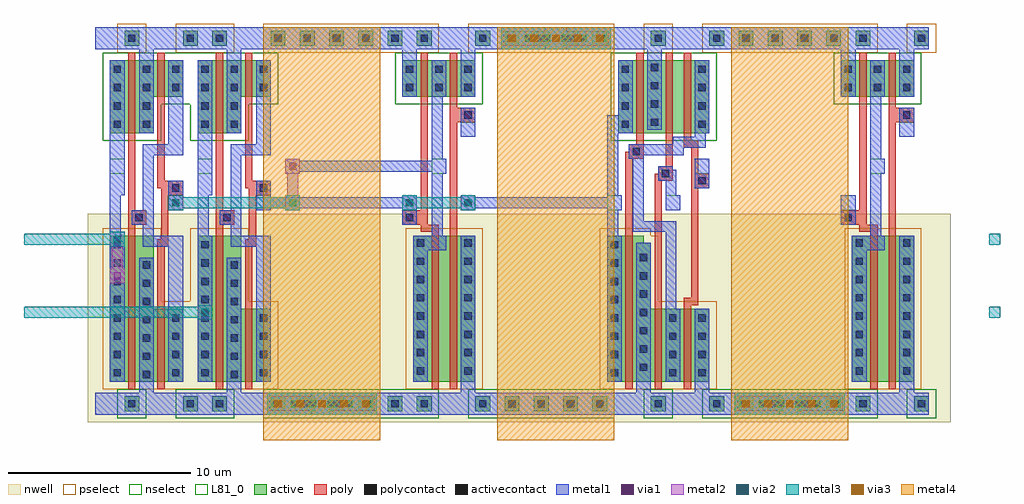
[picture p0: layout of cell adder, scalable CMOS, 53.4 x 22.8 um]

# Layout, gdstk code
from math import pi, radians
import gdstk
lib = gdstk.Library(unit=1e-6, precision=1e-09)
def R(c, l, rs):  # rectangles x0, y0, x1, y1
    for r in rs: c.add(gdstk.rectangle(r[:2], r[2:], *l))
def A(c, l, x, y, w, h, nx, ny, dx, dy):  # array of equal rectangles
    R(c, l, [(x+i*dx, y+j*dy, x+i*dx+w, y+j*dy+h) for i in range(nx) for j in range(ny)])
via3 = (30, 0)
metal4 = (31, 0)
nwell = (42, 0)
active = (43, 0)
pselect = (44, 0)
nselect = (45, 0)
poly = (46, 0)
polycontact = (47, 0)
activecontact = (48, 0)
metal1 = (49, 0)
via1 = (50, 0)
metal2 = (51, 0)
via2 = (61, 0)
metal3 = (62, 0)
L81_0 = (81, 0)

fill = lib.new_cell('FILL')
R(fill, nwell, [(-1.6,9.6,3.2,21)])
R(fill, active, [(-0.4,-0.4,0.4,0.4), (1.2,-0.4,2,0.4), (-0.4,19.6,0.4,20.4), (1.2,19.6,2,20.4)])
R(fill, pselect, [(-0.8,-0.8,2.4,0.8)])
R(fill, nselect, [(-0.8,19.2,2.4,20.8)])
R(fill, activecontact, [(-0.2,-0.2,0.2,0.2), (1.4,-0.2,1.8,0.2), (-0.2,19.8,0.2,20.2), (1.4,19.8,1.8,20.2)])
R(fill, metal1, [(-0.4,-0.6,2,0.6), (-0.4,19.4,2,20.6)])
fill.add(gdstk.Label('vdd', (0.8,20), layer=109, texttype=0))
fill.add(gdstk.Label('gnd', (0.8,0), layer=109, texttype=0))

bufx2 = lib.new_cell('BUFX2')
R(bufx2, nwell, [(-1,9.6,5.6,21)])
R(bufx2, active, [(-0.4,-0.4,0.4,0.4), (2.8,-0.4,3.6,0.4), (0.4,1.2,4.4,3.2), (2,3.2,4.4,5.2), (2,10.8,4.4,14.8), (0.4,14.8,4.4,18.8), (-0.4,19.6,0.4,20.4), (2.8,19.6,3.6,20.4)])
R(bufx2, pselect, [(-0.8,-0.8,0.8,0.8), (2.4,-0.8,4,0.8), (1.6,10.4,4.8,14.4), (0,14.4,4.8,19.2)])
R(bufx2, nselect, [(0,0.8,4.8,3.6), (1.6,3.6,4.8,5.6), (-0.8,19.2,0.8,20.8), (2.4,19.2,4,20.8)])
R(bufx2, poly, [(1.4,0.8,1.8,7.8), (3,0.8,3.4,9.4), (0.4,7.8,1.8,8.2), (0.4,8.2,1.6,8.6), (1.2,8.6,1.6,11), (2.4,9.4,3.4,10.2), (3,10.2,3.4,19.2), (1.2,11,1.8,11.4), (1.4,11.4,1.8,19.2)])
R(bufx2, polycontact, [(0.6,8,1,8.4), (2.6,9.6,3,10)])
A(bufx2, activecontact, 0.6, 1.5, 0.4, 0.4, 3, 2, 1.6, 1)
A(bufx2, activecontact, 3.8, 11.1, 0.4, 0.4, 1, 8, 0, 1)
A(bufx2, activecontact, 2.2, 12.2, 0.4, 0.4, 1, 7, 0, 1)
A(bufx2, activecontact, 0.6, 15.1, 0.4, 0.4, 1, 4, 0, 1)
R(bufx2, activecontact, [(-0.2,-0.2,0.2,0.2), (3,-0.2,3.4,0.2), (2.2,3.5,2.6,3.9), (3.8,3.5,4.2,3.9), (2.2,4.5,2.6,4.9), (3.8,4.5,4.2,4.9), (-0.2,19.8,0.2,20.2), (3,19.8,3.4,20.2)])
R(bufx2, metal1, [(-0.4,-0.6,5.2,0.6), (2,0.6,2.8,5.2), (0.4,1.2,1.2,5.8), (3.6,1.2,4.4,8.6), (0.4,5.8,2.6,6.4), (2,6.4,2.6,9.4), (0.4,7.8,1.2,9.4), (3.8,8.6,4.4,10.8), (2,9.4,3.2,10.2), (2,10.2,2.6,10.8), (0.4,10.8,2.6,11.4), (3.6,10.8,4.4,18.8), (0.4,11.4,1.2,18.8), (2,12,2.8,19.4), (-0.4,19.4,5.2,20.6)])
R(bufx2, L81_0, [(3.6,6.6,4.4,7.4), (0.4,8.6,1.2,9.4)])
bufx2.add(gdstk.Label('vdd', (0.8,20), layer=109, texttype=0))
bufx2.add(gdstk.Label('gnd', (0.8,0), layer=109, texttype=0))
bufx2.add(gdstk.Label('A', (0.8,9), layer=109, texttype=0))
bufx2.add(gdstk.Label('Y', (4,7), layer=109, texttype=0))

nor2x1 = lib.new_cell('NOR2X1')
R(nor2x1, nwell, [(-1.6,9.6,6.4,21)])
R(nor2x1, active, [(-0.4,-0.4,0.4,0.4), (2.8,-0.4,3.6,0.4), (0.4,1.2,4.4,3.2), (0.4,10.8,3.8,18.8), (-0.4,19.6,0.4,20.4), (2.8,19.6,3.6,20.4)])
R(nor2x1, pselect, [(-0.8,-0.8,0.8,0.8), (2.4,-0.8,4,0.8), (0,10.4,4.2,19.2)])
R(nor2x1, nselect, [(0,0.8,4.8,3.6), (-0.8,19.2,0.8,20.8), (2.4,19.2,4,20.8)])
R(nor2x1, poly, [(1.4,0.8,1.8,3.8), (3,0.8,3.4,9.4), (0.4,3.8,1.8,4.6), (1.4,4.6,1.8,19.2), (3,9.4,4.4,10.2), (2.4,10.2,3.4,10.6), (2.4,10.6,2.8,19.2)])
R(nor2x1, polycontact, [(0.6,4,1,4.4), (3.8,9.6,4.2,10)])
A(nor2x1, activecontact, 0.6, 1.5, 0.4, 0.4, 3, 2, 1.6, 1)
A(nor2x1, activecontact, 0.6, 11, 0.4, 0.4, 1, 8, 0, 1)
A(nor2x1, activecontact, 3.2, 11, 0.4, 0.4, 1, 8, 0, 1)
R(nor2x1, activecontact, [(-0.2,-0.2,0.2,0.2), (3,-0.2,3.4,0.2), (-0.2,19.8,0.2,20.2), (3,19.8,3.4,20.2)])
R(nor2x1, metal1, [(-0.4,-0.6,5.2,0.6), (0.4,0.6,1.2,3.2), (3.6,0.6,4.4,3.2), (2,1.2,2.8,3.2), (2.2,3.2,2.8,6.6), (0.4,3.8,1.2,5.4), (2,6.6,2.8,7.4), (2.2,7.4,2.8,10.8), (3.6,8.6,4.4,10.2), (0.4,10.8,1.2,19.4), (2,10.8,3.8,11.6), (3,11.6,3.8,18.8), (-0.4,19.4,5.2,20.6)])
R(nor2x1, L81_0, [(0.4,4.6,1.2,5.4), (2,6.6,2.8,7.4), (3.6,8.6,4.4,9.4)])
nor2x1.add(gdstk.Label('vdd', (0.8,20), layer=109, texttype=0))
nor2x1.add(gdstk.Label('B', (4,9), layer=109, texttype=0))
nor2x1.add(gdstk.Label('gnd', (0.8,0), layer=109, texttype=0))
nor2x1.add(gdstk.Label('Y', (2.4,7), layer=109, texttype=0))
nor2x1.add(gdstk.Label('A', (0.8,5), layer=109, texttype=0))

and2x2 = lib.new_cell('AND2X2')
R(and2x2, nwell, [(-1.6,9.6,8,21)])
R(and2x2, active, [(-0.4,-0.4,0.4,0.4), (2.8,-0.4,3.6,0.4), (0.4,1.2,5.4,5.2), (4,10.8,6,11.2), (3.6,11.2,6,14.8), (0.4,14.8,6,18.8), (-0.4,19.6,0.4,20.4), (2.8,19.6,3.6,20.4)])
R(and2x2, pselect, [(-0.8,-0.8,0.8,0.8), (2.4,-0.8,4,0.8), (3.6,10.4,6.4,10.8), (3.2,10.8,6.4,14.4), (0,14.4,6.4,19.2)])
R(and2x2, nselect, [(0,0.8,5.8,5.6), (-0.8,19.2,0.8,20.8), (2.4,19.2,4,20.8)])
R(and2x2, poly, [(1.4,0.8,1.8,5.6), (2.4,0.8,2.8,7), (4,0.8,4.4,5.8), (1,5.6,1.8,6), (4,5.8,4.8,6.2), (1,6,1.4,7.4), (4,6.2,5,6.6), (4.6,6.6,5,19.2), (2.4,7,3.2,7.4), (0.4,7.4,1.4,8.2), (2.4,7.4,3.4,7.8), (3,7.8,3.4,19.2), (1,8.2,1.4,14.2), (1,14.2,1.8,14.6), (1.4,14.6,1.8,19.2)])
R(and2x2, polycontact, [(4.2,6,4.6,6.4), (2.6,7.2,3,7.6), (0.6,7.6,1,8)])
A(and2x2, activecontact, 3.2, 1.4, 0.4, 0.4, 1, 4, 0, 1)
A(and2x2, activecontact, 0.6, 1.5, 0.4, 0.4, 1, 4, 0, 1)
A(and2x2, activecontact, 4.8, 1.5, 0.4, 0.4, 1, 4, 0, 1)
A(and2x2, activecontact, 5.4, 11.1, 0.4, 0.4, 1, 8, 0, 1)
A(and2x2, activecontact, 3.8, 11.8, 0.4, 0.4, 1, 7, 0, 1)
A(and2x2, activecontact, 0.6, 15.1, 0.4, 0.4, 1, 4, 0, 1)
A(and2x2, activecontact, 2.2, 15.1, 0.4, 0.4, 1, 4, 0, 1)
R(and2x2, activecontact, [(-0.2,-0.2,0.2,0.2), (3,-0.2,3.4,0.2), (-0.2,19.8,0.2,20.2), (3,19.8,3.4,20.2)])
R(and2x2, metal1, [(-0.4,-0.6,6.8,0.6), (3,0.6,3.8,5), (0.4,1.2,1.2,5.2), (4.6,1.2,5.4,4.2), (4.6,4.2,6,5.2), (0.6,5.2,1.2,5.4), (5.4,5.2,6,8.6), (0.6,5.4,2.4,5.8), (0.6,5.8,4.8,6), (1.8,6,4.8,6.4), (4,6.4,4.8,6.6), (0.4,6.6,1.2,8.2), (4,6.6,4.6,10), (2.4,7,3.2,7.2), (2.2,7.2,3.2,7.8), (2.2,7.8,2.8,8.6), (2,8.6,2.8,9.4), (5.2,8.6,6,9.4), (5.4,9.4,6,10.8), (2.2,10,4.6,10.6), (2.2,10.6,2.8,14.8), (5.2,10.8,6,18.8), (3.6,11.2,4.4,19.4), (0.4,14.8,1.2,19.4), (2,14.8,2.8,18.8), (-0.4,19.4,6.8,20.6)])
R(and2x2, L81_0, [(0.4,6.6,1.2,7.4), (2,8.6,2.8,9.4), (5.2,8.6,6,9.4)])
and2x2.add(gdstk.Label('vdd', (0.8,20), layer=109, texttype=0))
and2x2.add(gdstk.Label('gnd', (0.8,0), layer=109, texttype=0))
and2x2.add(gdstk.Label('A', (0.8,7), layer=109, texttype=0))
and2x2.add(gdstk.Label('B', (2.4,9), layer=109, texttype=0))
and2x2.add(gdstk.Label('Y', (5.6,9), layer=109, texttype=0))

adder = lib.new_cell('adder')
A(adder, via3, 10.2, 0.8, 0.4, 0.4, 5, 1, 1.2, 0)
A(adder, via3, 35.8, 0.8, 0.4, 0.4, 5, 1, 1.2, 0)
A(adder, via3, 23, 20.8, 0.4, 0.4, 5, 1, 1.2, 0)
A(adder, metal4, 9.6, -1, 6.4, 22.6, 3, 1, 12.8, 0)
R(adder, metal1, [(12.2,0.4,13.4,0.6), (37.8,0.4,39,0.6), (9.9,0.6,15.7,1.4), (35.5,0.6,41.3,1.4), (12.2,1.4,13.4,1.6), (37.8,1.4,39,1.6), (6,5.6,6.8,6.4), (1.2,7.6,2,8.4), (4.4,11.6,5.2,12.4), (17.2,11.6,18,11.7), (20.4,11.6,21.2,11.7), (9.3,11.7,18,12.3), (20.4,11.7,29.1,12.3), (17.2,12.3,18,12.4), (20.4,12.3,21.2,12.4), (10.8,13.6,11.6,13.7), (10.8,13.7,19.5,14.3), (10.8,14.3,11.6,14.4), (25,20.4,26.2,20.6), (22.7,20.6,28.5,21.4), (25,21.4,26.2,21.6)])
A(adder, via1, 10.1, 0.8, 0.4, 0.4, 6, 1, 1, 0)
A(adder, via1, 35.7, 0.8, 0.4, 0.4, 6, 1, 1, 0)
A(adder, via1, 22.9, 20.8, 0.4, 0.4, 6, 1, 1, 0)
R(adder, via1, [(6.2,5.8,6.6,6.2), (1.4,7.8,1.8,8.2), (4.6,11.8,5,12.2), (17.4,11.8,17.8,12.2), (20.6,11.8,21,12.2), (11,13.8,11.4,14.2)])
A(adder, metal2, 4.4, 11.6, 0.8, 0.8, 3, 1, 6.4, 0)
R(adder, metal2, [(12.2,0.4,13.4,0.6), (37.8,0.4,39,0.6), (9.9,0.6,15.7,1.4), (35.5,0.6,41.3,1.4), (12.2,1.4,13.4,1.6), (37.8,1.4,39,1.6), (6,5.6,6.8,6.4), (1.2,7.6,2,8.4), (1.3,8.4,1.9,9.6), (1.2,9.6,2,10.4), (20.4,11.6,21.2,12.4), (10.9,12.4,11.5,13.6), (10.8,13.6,11.6,14.4), (25,20.4,26.2,20.6), (22.7,20.6,28.5,21.4), (25,21.4,26.2,21.6)])
A(adder, via2, 10.1, 0.8, 0.4, 0.4, 6, 1, 1, 0)
A(adder, via2, 35.7, 0.8, 0.4, 0.4, 6, 1, 1, 0)
A(adder, via2, 4.6, 11.8, 0.4, 0.4, 3, 1, 6.4, 0)
A(adder, via2, 22.9, 20.8, 0.4, 0.4, 6, 1, 1, 0)
R(adder, via2, [(6.2,5.8,6.6,6.2), (1.4,9.8,1.8,10.2), (20.6,11.8,21,12.2)])
A(adder, metal3, 4.4, 11.6, 0.8, 0.1, 3, 2, 6.4, 0.7)
R(adder, metal3, [(9.8,0.4,15.8,1.6), (35.4,0.4,41.4,1.6), (6,5.6,6.8,5.7), (-3.5,5.7,6.8,6.3), (49.3,5.7,49.9,6.3), (6,6.3,6.8,6.4), (1.2,9.6,2,9.7), (-3.5,9.7,2,10.3), (49.3,9.7,49.9,10.3), (1.2,10.3,2,10.4), (20.4,11.6,21.2,11.7), (4.4,11.7,11.6,12.3), (17.2,11.7,21.2,12.3), (20.4,12.3,21.2,12.4), (22.6,20.4,28.6,21.6)])
adder.add(gdstk.Reference(fill, (12,21), rotation=pi))
adder.add(gdstk.Reference(bufx2, (5.6,21), rotation=pi))
adder.add(gdstk.Reference(bufx2, (10.4,21), rotation=pi))
adder.add(gdstk.Reference(fill, (16.8,21), rotation=pi))
adder.add(gdstk.Reference(fill, (15.2,21), rotation=pi))
adder.add(gdstk.Reference(fill, (13.6,21), rotation=pi))
adder.add(gdstk.Reference(nor2x1, (21.6,21), rotation=pi))
adder.add(gdstk.Reference(fill, (28,21), rotation=pi))
adder.add(gdstk.Reference(fill, (26.4,21), rotation=pi))
adder.add(gdstk.Reference(fill, (24.8,21), rotation=pi))
adder.add(gdstk.Reference(fill, (23.2,21), rotation=pi))
adder.add(gdstk.Reference(and2x2, (34.4,21), rotation=pi))
adder.add(gdstk.Reference(fill, (40.8,21), rotation=pi))
adder.add(gdstk.Reference(fill, (39.2,21), rotation=pi))
adder.add(gdstk.Reference(fill, (37.6,21), rotation=pi))
adder.add(gdstk.Reference(fill, (36,21), rotation=pi))
adder.add(gdstk.Reference(nor2x1, (45.6,21), rotation=pi))

lib.write_gds('adder.gds')
